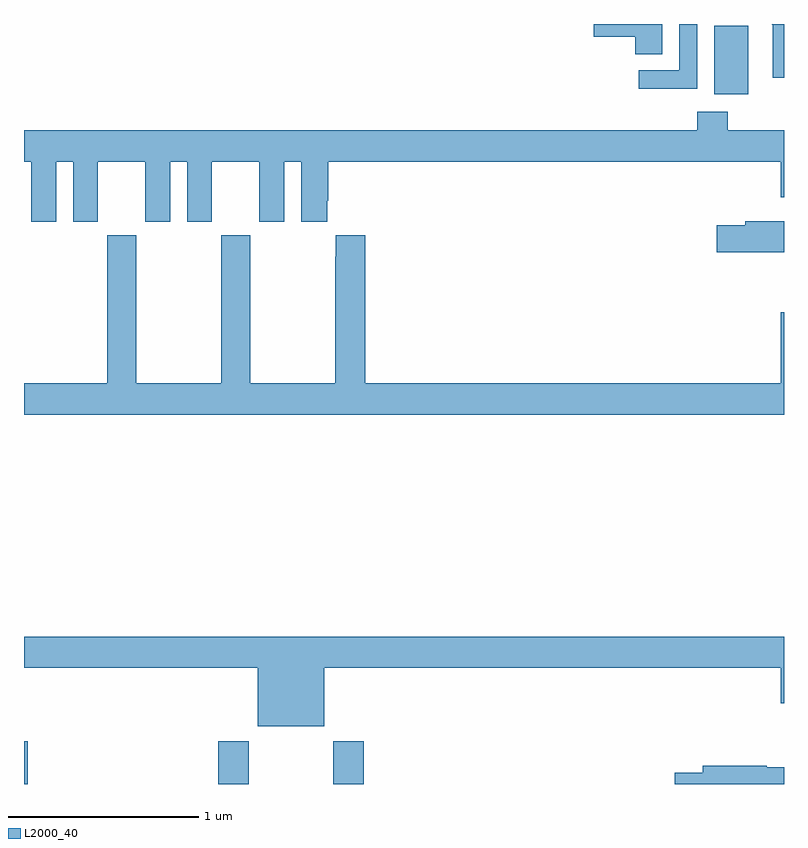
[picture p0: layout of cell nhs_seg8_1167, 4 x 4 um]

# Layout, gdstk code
import gdstk
lib = gdstk.Library(unit=1e-6, precision=1e-09)
def R(c, l, rs):  # rectangles x0, y0, x1, y1
    for r in rs: c.add(gdstk.rectangle(r[:2], r[2:], *l))
def P(c, l, *ps):  # polygons
    for p in ps: c.add(gdstk.Polygon(p, *l))
L2000_40 = (2000, 40)

nhs_seg8_1167 = lib.new_cell('nhs_seg8_1167')
R(nhs_seg8_1167, L2000_40, [(185,1103.9,185.021,1104.124), (186.023,1103.9,186.183,1104.124), (186.628,1103.9,186.788,1104.124), (188.633,1107.53,188.812,1107.891)])
P(nhs_seg8_1167, L2000_40, [(188.359,1107.9),(187.998,1107.9),(187.998,1107.833),(188.216,1107.833),(188.216,1107.742),(188.359,1107.742)],
  [(188.544,1107.9),(188.448,1107.9),(188.448,1107.657),(188.235,1107.657),(188.235,1107.559),(188.544,1107.559)],
  [(189,1107.9),(188.935,1107.9),(188.942,1107.893),(188.942,1107.77),(188.94,1107.77),(188.94,1107.616),(189,1107.616)],
  [(185.17,1107.176),(185.258,1107.176),(185.258,1106.859),(185.389,1106.859),(185.389,1107.176),(185.639,1107.176),(185.639,1106.859),(185.77,1106.859),(185.77,1107.176),(185.858,1107.176),(185.858,1106.859),(185.989,1106.859),(185.989,1107.176),(186.239,1107.176),(186.239,1106.859),(186.37,1106.859),(186.37,1107.176),(186.458,1107.176),(186.458,1106.859),(186.595,1106.859),(186.595,1106.971),(186.602,1106.971),(186.602,1107.176),(188.984,1107.176),(188.984,1106.988),(189,1106.988),(189,1107.34),(188.703,1107.34),(188.703,1107.439),(188.543,1107.439),(188.543,1107.34),(185,1107.34),(185,1107.176),(185.039,1107.176),(185.039,1106.859),(185.17,1106.859)],
  [(189,1106.862),(188.795,1106.862),(188.795,1106.841),(188.646,1106.841),(188.646,1106.699),(189,1106.699)],
  [(189,1106.383),(188.984,1106.383),(188.984,1106.008),(186.797,1106.008),(186.797,1106.788),(186.641,1106.788),(186.641,1106.675),(186.637,1106.675),(186.637,1106.008),(186.192,1106.008),(186.192,1106.788),(186.037,1106.788),(186.037,1106.008),(185.592,1106.008),(185.592,1106.788),(185.437,1106.788),(185.437,1106.008),(185,1106.008),(185,1105.844),(189,1105.844)],
  [(186.58,1104.512),(188.984,1104.512),(188.984,1104.324),(189,1104.324),(189,1104.676),(185,1104.676),(185,1104.512),(186.23,1104.512),(186.23,1104.203),(186.58,1104.203)],
  [(189,1103.989),(188.908,1103.989),(188.908,1103.996),(188.573,1103.996),(188.573,1103.96),(188.424,1103.96),(188.424,1103.9),(189,1103.9)])

lib.write_gds('nhs_seg8_1167.gds')
